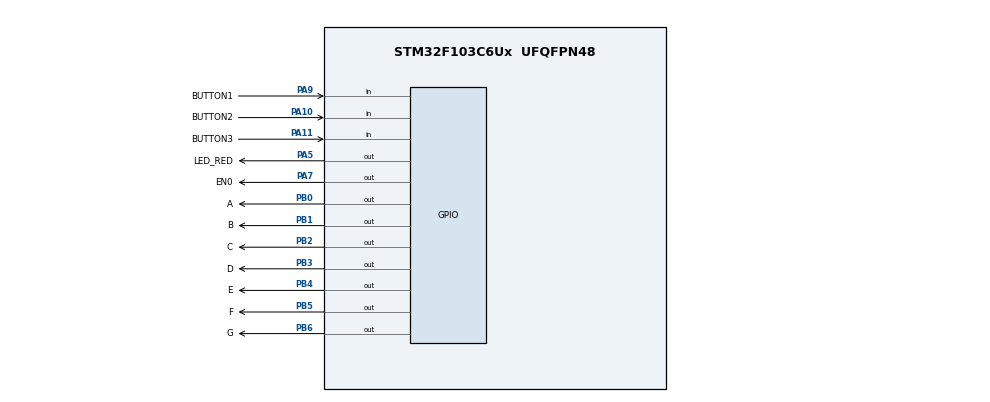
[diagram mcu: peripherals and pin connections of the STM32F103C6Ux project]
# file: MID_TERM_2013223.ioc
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Mcu.Family=STM32F1
Mcu.Name=STM32F103C6Ux
Mcu.Package=UFQFPN48
NVIC.PriorityGroup=NVIC_PRIORITYGROUP_4
NVIC.TIM2_IRQn=true\:0\:0\:false\:false\:true\:true\:true
PA10.GPIO_Label=BUTTON2
PA10.GPIO_PuPd=GPIO_PULLUP
PA10.Signal=GPIO_Input
PA11.GPIO_Label=BUTTON3
PA11.GPIO_PuPd=GPIO_PULLUP
PA11.Signal=GPIO_Input
PA5.GPIO_Label=LED_RED
PA5.Signal=GPIO_Output
PA7.GPIO_Label=EN0
PA7.Signal=GPIO_Output
PA9.GPIO_Label=BUTTON1
PA9.GPIO_PuPd=GPIO_PULLUP
PA9.Signal=GPIO_Input
PB0.GPIO_Label=A
PB0.Signal=GPIO_Output
PB1.GPIO_Label=B
PB1.Signal=GPIO_Output
PB2.GPIO_Label=C
PB2.Signal=GPIO_Output
PB3.GPIO_Label=D
PB3.Signal=GPIO_Output
PB4.GPIO_Label=E
PB4.Signal=GPIO_Output
PB5.GPIO_Label=F
PB5.Signal=GPIO_Output
PB6.GPIO_Label=G
PB6.Signal=GPIO_Output
ProjectManager.HeapSize=0x200
ProjectManager.StackSize=0x400
ProjectManager.TargetToolchain=STM32CubeIDE
RCC.APB1Freq_Value=8000000
RCC.APB2Freq_Value=8000000
TIM2.Period=9
TIM2.Prescaler=7999
VP_SYS_VS_ND.Mode=No_Debug
VP_TIM2_VS_ClockSourceINT.Mode=Internal
board=custom

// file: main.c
/* USER CODE BEGIN Header */
/**
  ******************************************************************************
  * @file           : main.c
  * @brief          : Main program body
  ******************************************************************************
  * @attention
  *
  * <h2><center>&copy; Copyright (c) 2022 STMicroelectronics.
  * All rights reserved.</center></h2>
  *
  * This software component is licensed by ST under BSD 3-Clause license,
  * the "License"; You may not use this file except in compliance with the
  * License. You may obtain a copy of the License at:
  *                        opensource.org/licenses/BSD-3-Clause
  *
  ******************************************************************************
  */
/* USER CODE END Header */
#include "main.h"
#include  "timer1.h"
#include  "timer2.h"
#include  "timer3.h"
#include "global.h"
#include "button.h"
#include "fsm_button_run.h"
#include "7seg.h"
#include "fsm_10s.h"

TIM_HandleTypeDef htim2;

void SystemClock_Config(void);
static void MX_GPIO_Init(void);
static void MX_TIM2_Init(void);

int main(void)
{

  /* MCU Configuration--------------------------------------------------------*/

  /* Reset of all peripherals, Initializes the Flash interface and the Systick. */
  HAL_Init();

  /* Configure the system clock */
  SystemClock_Config();

  /* Initialize all configured peripherals */
  MX_GPIO_Init();
  MX_TIM2_Init();
  /* USER CODE BEGIN 2 */
  HAL_TIM_Base_Start_IT (& htim2 ) ;

  /* USER CODE END 2 */

  /* Infinite loop */
  /* USER CODE BEGIN WHILE */
 setTimer3(10);
 setTimer2(10);
 setTimer1(10);
 status = INIT;
 status1 = INIT;
 display7SEG(0);
  while (1)
  {
    /* USER CODE END WHILE */
	  fsm_simple_buttons_run ();
	  if(timer1_flag == 1){
		  HAL_GPIO_TogglePin(LED_RED_GPIO_Port, LED_RED_Pin);
	  				setTimer1(1000);
	  	}
  }
}

void SystemClock_Config(void)
{
  RCC_OscInitTypeDef RCC_OscInitStruct = {0};
  RCC_ClkInitTypeDef RCC_ClkInitStruct = {0};

  /** Initializes the RCC Oscillators according to the specified parameters
  * in the RCC_OscInitTypeDef structure.
  */
  RCC_OscInitStruct.OscillatorType = RCC_OSCILLATORTYPE_HSI;
  RCC_OscInitStruct.HSIState = RCC_HSI_ON;
  RCC_OscInitStruct.HSICalibrationValue = RCC_HSICALIBRATION_DEFAULT;
  RCC_OscInitStruct.PLL.PLLState = RCC_PLL_NONE;
  if (HAL_RCC_OscConfig(&RCC_OscInitStruct) != HAL_OK)
  {
    Error_Handler();
  }
  /** Initializes the CPU, AHB and APB buses clocks
  */
  RCC_ClkInitStruct.ClockType = RCC_CLOCKTYPE_HCLK|RCC_CLOCKTYPE_SYSCLK
                              |RCC_CLOCKTYPE_PCLK1|RCC_CLOCKTYPE_PCLK2;
  RCC_ClkInitStruct.SYSCLKSource = RCC_SYSCLKSOURCE_HSI;
  RCC_ClkInitStruct.AHBCLKDivider = RCC_SYSCLK_DIV1;
  RCC_ClkInitStruct.APB1CLKDivider = RCC_HCLK_DIV1;
  RCC_ClkInitStruct.APB2CLKDivider = RCC_HCLK_DIV1;

  if (HAL_RCC_ClockConfig(&RCC_ClkInitStruct, FLASH_LATENCY_0) != HAL_OK)
  {
    Error_Handler();
  }
}

static void MX_TIM2_Init(void)
{

  TIM_ClockConfigTypeDef sClockSourceConfig = {0};
  TIM_MasterConfigTypeDef sMasterConfig = {0};

  htim2.Instance = TIM2;
  htim2.Init.Prescaler = 7999;
  htim2.Init.CounterMode = TIM_COUNTERMODE_UP;
  htim2.Init.Period = 9;
  htim2.Init.ClockDivision = TIM_CLOCKDIVISION_DIV1;
  htim2.Init.AutoReloadPreload = TIM_AUTORELOAD_PRELOAD_DISABLE;
  if (HAL_TIM_Base_Init(&htim2) != HAL_OK)
  {
    Error_Handler();
  }
  sClockSourceConfig.ClockSource = TIM_CLOCKSOURCE_INTERNAL;
  if (HAL_TIM_ConfigClockSource(&htim2, &sClockSourceConfig) != HAL_OK)
  {
    Error_Handler();
  }
  sMasterConfig.MasterOutputTrigger = TIM_TRGO_RESET;
  sMasterConfig.MasterSlaveMode = TIM_MASTERSLAVEMODE_DISABLE;
  if (HAL_TIMEx_MasterConfigSynchronization(&htim2, &sMasterConfig) != HAL_OK)
  {
    Error_Handler();
  }

}

static void MX_GPIO_Init(void)
{
  GPIO_InitTypeDef GPIO_InitStruct = {0};

  /* GPIO Ports Clock Enable */
  __HAL_RCC_GPIOA_CLK_ENABLE();
  __HAL_RCC_GPIOB_CLK_ENABLE();

  /*Configure GPIO pin Output Level */
  HAL_GPIO_WritePin(GPIOA, LED_RED_Pin|EN0_Pin, GPIO_PIN_RESET);

  /*Configure GPIO pin Output Level */
  HAL_GPIO_WritePin(GPIOB, A_Pin|B_Pin|C_Pin|D_Pin
                          |E_Pin|F_Pin|G_Pin, GPIO_PIN_RESET);

  /*Configure GPIO pins : LED_RED_Pin EN0_Pin */
  GPIO_InitStruct.Pin = LED_RED_Pin|EN0_Pin;
  GPIO_InitStruct.Mode = GPIO_MODE_OUTPUT_PP;
  GPIO_InitStruct.Pull = GPIO_NOPULL;
  GPIO_InitStruct.Speed = GPIO_SPEED_FREQ_LOW;
  HAL_GPIO_Init(GPIOA, &GPIO_InitStruct);

  /*Configure GPIO pins : A_Pin B_Pin C_Pin D_Pin
                           E_Pin F_Pin G_Pin */
  GPIO_InitStruct.Pin = A_Pin|B_Pin|C_Pin|D_Pin
                          |E_Pin|F_Pin|G_Pin;
  GPIO_InitStruct.Mode = GPIO_MODE_OUTPUT_PP;
  GPIO_InitStruct.Pull = GPIO_NOPULL;
  GPIO_InitStruct.Speed = GPIO_SPEED_FREQ_LOW;
  HAL_GPIO_Init(GPIOB, &GPIO_InitStruct);

  /*Configure GPIO pins : BUTTON1_Pin BUTTON2_Pin BUTTON3_Pin */
  GPIO_InitStruct.Pin = BUTTON1_Pin|BUTTON2_Pin|BUTTON3_Pin;
  GPIO_InitStruct.Mode = GPIO_MODE_INPUT;
  GPIO_InitStruct.Pull = GPIO_PULLUP;
  HAL_GPIO_Init(GPIOA, &GPIO_InitStruct);

}

/* USER CODE BEGIN 4 */
void HAL_TIM_PeriodElapsedCallback(TIM_HandleTypeDef *htim){
	timer_run1();
	timer_run2();
	timer_run3();
	getKeyInput1();
	getKeyInput2();
	getKeyInput3();
	check();
}
/* USER CODE END 4 */

void Error_Handler(void)
{
  __disable_irq();
  while (1)
  {
  }
}

/************************ (C) COPYRIGHT STMicroelectronics *****END OF FILE****/
